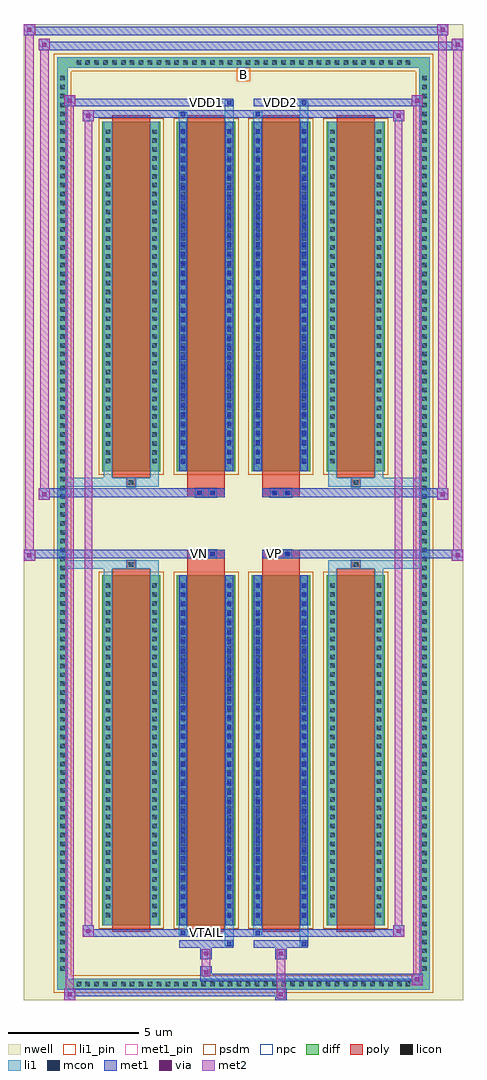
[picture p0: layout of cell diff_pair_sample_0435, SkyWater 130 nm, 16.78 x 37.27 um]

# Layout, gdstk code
import gdstk
lib = gdstk.Library(unit=1e-6, precision=5e-09)
def R(c, l, rs):  # rectangles x0, y0, x1, y1
    for r in rs: c.add(gdstk.rectangle(r[:2], r[2:], *l))
def A(c, l, x, y, w, h, nx, ny, dx, dy):  # array of equal rectangles
    R(c, l, [(x+i*dx, y+j*dy, x+i*dx+w, y+j*dy+h) for i in range(nx) for j in range(ny)])
def P(c, l, *ps):  # polygons
    for p in ps: c.add(gdstk.Polygon(p, *l))
nwell = (64, 20)
diff = (65, 20)
poly = (66, 20)
licon = (66, 44)
li1_pin = (67, 16)
li1 = (67, 20)
mcon = (67, 44)
met1_pin = (68, 16)
met1 = (68, 20)
via = (68, 44)
met2 = (69, 20)
psdm = (94, 20)
npc = (95, 20)

diff_pair_sample_0435 = lib.new_cell('diff_pair_sample_0435')
R(diff_pair_sample_0435, nwell, [(-8.39,-18.2,8.39,19.07), (-5.71,-16.39,-0.01,-0.805), (0.01,-16.39,5.71,-0.805), (-5.71,0.805,-0.01,16.39), (0.01,0.805,5.71,16.39)])
A(diff_pair_sample_0435, diff, -6.495, -17.8, 0.41, 0.41, 38, 2, 0.34, 35.19)
A(diff_pair_sample_0435, diff, -7.12, -17.205, 0.41, 0.41, 1, 101, 0, 0.34)
A(diff_pair_sample_0435, diff, 6.71, -17.205, 0.41, 0.41, 1, 101, 0, 0.34)
A(diff_pair_sample_0435, diff, -5.4, -15.345, 2.22, 13.36, 4, 2, 2.86, 17.33)
R(diff_pair_sample_0435, diff, [(-6.495,-17.8,6.495,-17.39), (-7.12,-17.205,-6.71,17.205), (6.71,-17.205,7.12,17.205), (-6.495,17.39,6.495,17.8)])
P(diff_pair_sample_0435, diff, [(7.12,17.8),(-7.12,17.8),(-7.12,-17.39),(-6.71,-17.39),(-6.71,17.39),(6.71,17.39),(6.71,-17.39),(-6.71,-17.39),(-7.12,-17.39),(-7.12,-17.8),(7.12,-17.8)])
A(diff_pair_sample_0435, poly, -5.01, -15.595, 1.44, 13.86, 4, 2, 2.86, 17.33)
R(diff_pair_sample_0435, poly, [(-4.455,-1.735,-4.125,-1.405), (-4.455,-1.735,-4.125,-1.405), (-2.15,-1.735,-0.71,-1.335), (0.71,-1.735,2.15,-1.335), (4.125,-1.735,4.455,-1.405), (4.125,-1.735,4.455,-1.405), (-2.15,-1.335,-0.71,-1.005), (-1.845,-1.335,-1.515,-1.005), (-1.345,-1.335,-1.015,-1.005), (0.71,-1.335,2.15,-1.005), (1.015,-1.335,1.345,-1.005), (1.515,-1.335,1.845,-1.005), (-2.15,1.005,-0.71,1.335), (-1.845,1.005,-1.515,1.335), (-1.345,1.005,-1.015,1.335), (0.71,1.005,2.15,1.335), (1.015,1.005,1.345,1.335), (1.515,1.005,1.845,1.335), (-2.15,1.335,-0.71,1.735), (0.71,1.335,2.15,1.735), (-4.455,1.405,-4.125,1.735), (-4.455,1.405,-4.125,1.735), (4.125,1.405,4.455,1.735), (4.125,1.405,4.455,1.735)])
A(diff_pair_sample_0435, licon, -6.375, -17.68, 0.17, 0.17, 38, 2, 0.34, 35.19)
A(diff_pair_sample_0435, licon, -7, -17.085, 0.17, 0.17, 1, 101, 0, 0.34)
A(diff_pair_sample_0435, licon, 6.83, -17.085, 0.17, 0.17, 1, 101, 0, 0.34)
A(diff_pair_sample_0435, licon, -5.26, -15.04, 0.17, 0.17, 1, 38, 0, 0.34)
A(diff_pair_sample_0435, licon, -3.49, -15.04, 0.17, 0.17, 1, 38, 0, 0.34)
A(diff_pair_sample_0435, licon, -2.4, -15.04, 0.17, 0.17, 1, 38, 0, 0.34)
A(diff_pair_sample_0435, licon, -0.63, -15.04, 0.17, 0.17, 1, 38, 0, 0.34)
A(diff_pair_sample_0435, licon, 0.46, -15.04, 0.17, 0.17, 1, 38, 0, 0.34)
A(diff_pair_sample_0435, licon, 2.23, -15.04, 0.17, 0.17, 1, 38, 0, 0.34)
A(diff_pair_sample_0435, licon, 3.32, -15.04, 0.17, 0.17, 1, 38, 0, 0.34)
A(diff_pair_sample_0435, licon, 5.09, -15.04, 0.17, 0.17, 1, 38, 0, 0.34)
A(diff_pair_sample_0435, licon, -5.26, 2.29, 0.17, 0.17, 1, 38, 0, 0.34)
A(diff_pair_sample_0435, licon, -3.49, 2.29, 0.17, 0.17, 1, 38, 0, 0.34)
A(diff_pair_sample_0435, licon, -2.4, 2.29, 0.17, 0.17, 1, 38, 0, 0.34)
A(diff_pair_sample_0435, licon, -0.63, 2.29, 0.17, 0.17, 1, 38, 0, 0.34)
A(diff_pair_sample_0435, licon, 0.46, 2.29, 0.17, 0.17, 1, 38, 0, 0.34)
A(diff_pair_sample_0435, licon, 2.23, 2.29, 0.17, 0.17, 1, 38, 0, 0.34)
A(diff_pair_sample_0435, licon, 3.32, 2.29, 0.17, 0.17, 1, 38, 0, 0.34)
A(diff_pair_sample_0435, licon, 5.09, 2.29, 0.17, 0.17, 1, 38, 0, 0.34)
R(diff_pair_sample_0435, licon, [(-4.375,-1.655,-4.205,-1.485), (4.205,-1.655,4.375,-1.485), (-1.765,-1.255,-1.595,-1.085), (-1.265,-1.255,-1.095,-1.085), (1.095,-1.255,1.265,-1.085), (1.595,-1.255,1.765,-1.085), (-1.765,1.085,-1.595,1.255), (-1.265,1.085,-1.095,1.255), (1.095,1.085,1.265,1.255), (1.595,1.085,1.765,1.255), (-4.375,1.485,-4.205,1.655), (4.205,1.485,4.375,1.655)])
R(diff_pair_sample_0435, li1_pin, [(-0.25,16.89,0.25,17.39)])
A(diff_pair_sample_0435, li1, -6.455, -17.76, 0.33, 0.33, 38, 2, 0.34, 35.19)
A(diff_pair_sample_0435, li1, -7.08, -17.165, 0.33, 0.33, 1, 101, 0, 0.34)
A(diff_pair_sample_0435, li1, 6.75, -17.165, 0.33, 0.33, 1, 101, 0, 0.34)
A(diff_pair_sample_0435, li1, -5.34, -15.12, 0.33, 0.33, 1, 38, 0, 0.34)
A(diff_pair_sample_0435, li1, -3.57, -15.12, 0.33, 0.33, 1, 38, 0, 0.34)
A(diff_pair_sample_0435, li1, -2.48, -15.12, 0.33, 0.33, 1, 38, 0, 0.34)
A(diff_pair_sample_0435, li1, -0.71, -15.12, 0.33, 0.33, 1, 38, 0, 0.34)
A(diff_pair_sample_0435, li1, 0.38, -15.12, 0.33, 0.33, 1, 38, 0, 0.34)
A(diff_pair_sample_0435, li1, 2.15, -15.12, 0.33, 0.33, 1, 38, 0, 0.34)
A(diff_pair_sample_0435, li1, 3.24, -15.12, 0.33, 0.33, 1, 38, 0, 0.34)
A(diff_pair_sample_0435, li1, 5.01, -15.12, 0.33, 0.33, 1, 38, 0, 0.34)
A(diff_pair_sample_0435, li1, -2.4, -15.05, 0.17, 0.17, 1, 36, 0, 0.36)
A(diff_pair_sample_0435, li1, -0.63, -15.05, 0.17, 0.17, 1, 36, 0, 0.36)
A(diff_pair_sample_0435, li1, 0.46, -15.05, 0.17, 0.17, 1, 36, 0, 0.36)
A(diff_pair_sample_0435, li1, 2.23, -15.05, 0.17, 0.17, 1, 36, 0, 0.36)
A(diff_pair_sample_0435, li1, -5.34, 2.21, 0.33, 0.33, 1, 38, 0, 0.34)
A(diff_pair_sample_0435, li1, -3.57, 2.21, 0.33, 0.33, 1, 38, 0, 0.34)
A(diff_pair_sample_0435, li1, -2.48, 2.21, 0.33, 0.33, 1, 38, 0, 0.34)
A(diff_pair_sample_0435, li1, -0.71, 2.21, 0.33, 0.33, 1, 38, 0, 0.34)
A(diff_pair_sample_0435, li1, 0.38, 2.21, 0.33, 0.33, 1, 38, 0, 0.34)
A(diff_pair_sample_0435, li1, 2.15, 2.21, 0.33, 0.33, 1, 38, 0, 0.34)
A(diff_pair_sample_0435, li1, 3.24, 2.21, 0.33, 0.33, 1, 38, 0, 0.34)
A(diff_pair_sample_0435, li1, 5.01, 2.21, 0.33, 0.33, 1, 38, 0, 0.34)
A(diff_pair_sample_0435, li1, -2.4, 2.28, 0.17, 0.17, 1, 36, 0, 0.36)
A(diff_pair_sample_0435, li1, -0.63, 2.28, 0.17, 0.17, 1, 36, 0, 0.36)
A(diff_pair_sample_0435, li1, 0.46, 2.28, 0.17, 0.17, 1, 36, 0, 0.36)
A(diff_pair_sample_0435, li1, 2.23, 2.28, 0.17, 0.17, 1, 36, 0, 0.36)
R(diff_pair_sample_0435, li1, [(-7.12,-17.8,-6.71,-17.39), (-7.12,-17.8,-6.71,-17.39), (-6.71,-17.8,6.71,-17.39), (6.71,-17.8,7.12,-17.39), (6.71,-17.8,7.12,-17.39), (-7.12,-17.39,-6.71,17.39), (6.71,-17.39,7.12,17.39), (-0.71,-16.15,-0.38,-15.345), (-0.63,-16.15,-0.46,-15.98), (2.15,-16.15,2.48,-15.345), (2.23,-16.15,2.4,-15.98), (-2.48,-15.72,-2.15,-15.345), (-2.4,-15.72,-2.23,-15.55), (0.38,-15.72,0.71,-15.345), (0.46,-15.72,0.63,-15.55), (-5.34,-15.345,-5.01,-1.985), (-3.57,-15.345,-3.24,-1.985), (-2.48,-15.345,-2.15,-1.985), (-0.71,-15.345,-0.38,-1.985), (0.38,-15.345,0.71,-1.985), (2.15,-15.345,2.48,-1.985), (3.24,-15.345,3.57,-1.985), (5.01,-15.345,5.34,-1.985), (-2.4,-15.05,-2.23,-2.28), (-0.63,-15.05,-0.46,-2.28), (0.46,-15.05,0.63,-2.28), (2.23,-15.05,2.4,-2.28), (-5.34,-1.985,-5.01,-1.405), (-3.57,-1.985,-3.24,-1.405), (3.24,-1.985,3.57,-1.405), (5.01,-1.985,5.34,-1.405), (-7.12,-1.735,-4.455,-1.405), (-5.34,-1.735,-4.455,-1.405), (-4.455,-1.735,-4.125,-1.405), (-4.125,-1.735,-3.24,-1.405), (3.24,-1.735,4.125,-1.405), (4.125,-1.735,4.455,-1.405), (4.125,-1.735,7.12,-1.405), (4.455,-1.735,5.34,-1.405), (-1.845,-1.335,-1.515,-1.005), (-1.345,-1.335,-1.015,-1.005), (1.015,-1.335,1.345,-1.005), (1.515,-1.335,1.845,-1.005), (-1.845,1.005,-1.515,1.335), (-1.345,1.005,-1.015,1.335), (1.015,1.005,1.345,1.335), (1.515,1.005,1.845,1.335), (-7.12,1.405,-4.455,1.735), (-5.34,1.405,-4.455,1.735), (-5.34,1.405,-5.01,1.985), (-4.455,1.405,-4.125,1.735), (-4.125,1.405,-3.24,1.735), (-3.57,1.405,-3.24,1.985), (3.24,1.405,4.125,1.735), (3.24,1.405,3.57,1.985), (4.125,1.405,4.455,1.735), (4.125,1.405,7.12,1.735), (4.455,1.405,5.34,1.735), (5.01,1.405,5.34,1.985), (-5.34,1.985,-5.01,15.345), (-3.57,1.985,-3.24,15.345), (-2.48,1.985,-2.15,15.345), (-0.71,1.985,-0.38,15.345), (0.38,1.985,0.71,15.345), (2.15,1.985,2.48,15.345), (3.24,1.985,3.57,15.345), (5.01,1.985,5.34,15.345), (-2.4,2.28,-2.23,15.05), (-0.63,2.28,-0.46,15.05), (0.46,2.28,0.63,15.05), (2.23,2.28,2.4,15.05), (-2.48,15.345,-2.15,15.72), (-0.71,15.345,-0.38,16.15), (0.38,15.345,0.71,15.72), (2.15,15.345,2.48,16.15), (-2.4,15.55,-2.23,15.72), (0.46,15.55,0.63,15.72), (-0.63,15.98,-0.46,16.15), (2.23,15.98,2.4,16.15), (-7.12,17.39,-6.71,17.8), (-7.12,17.39,-6.71,17.8), (-6.71,17.39,6.71,17.8), (6.71,17.39,7.12,17.8), (6.71,17.39,7.12,17.8)])
A(diff_pair_sample_0435, mcon, -2.4, -15.05, 0.17, 0.17, 1, 36, 0, 0.36)
A(diff_pair_sample_0435, mcon, -0.63, -15.05, 0.17, 0.17, 1, 36, 0, 0.36)
A(diff_pair_sample_0435, mcon, 0.46, -15.05, 0.17, 0.17, 1, 36, 0, 0.36)
A(diff_pair_sample_0435, mcon, 2.23, -15.05, 0.17, 0.17, 1, 36, 0, 0.36)
A(diff_pair_sample_0435, mcon, -2.4, 2.28, 0.17, 0.17, 1, 36, 0, 0.36)
A(diff_pair_sample_0435, mcon, -0.63, 2.28, 0.17, 0.17, 1, 36, 0, 0.36)
A(diff_pair_sample_0435, mcon, 0.46, 2.28, 0.17, 0.17, 1, 36, 0, 0.36)
A(diff_pair_sample_0435, mcon, 2.23, 2.28, 0.17, 0.17, 1, 36, 0, 0.36)
R(diff_pair_sample_0435, mcon, [(-0.63,-16.15,-0.46,-15.98), (2.23,-16.15,2.4,-15.98), (-2.4,-15.72,-2.23,-15.55), (0.46,-15.72,0.63,-15.55), (-1.765,-1.255,-1.595,-1.085), (-1.265,-1.255,-1.095,-1.085), (1.095,-1.255,1.265,-1.085), (1.595,-1.255,1.765,-1.085), (-1.765,1.085,-1.595,1.255), (-1.265,1.085,-1.095,1.255), (1.095,1.085,1.265,1.255), (1.595,1.085,1.765,1.255), (-2.4,15.55,-2.23,15.72), (0.46,15.55,0.63,15.72), (-0.63,15.98,-0.46,16.15), (2.23,15.98,2.4,16.15)])
R(diff_pair_sample_0435, met1_pin, [(-1.565,-15.76,-1.295,-15.49), (-1.815,-1.295,-1.545,-1.025), (1.045,-1.295,1.315,-1.025), (-1.565,15.94,-1.295,16.21), (1.295,15.94,1.565,16.21)])
A(diff_pair_sample_0435, met1, -2.46, -15.11, 0.29, 0.29, 1, 36, 0, 0.36)
A(diff_pair_sample_0435, met1, -0.69, -15.11, 0.29, 0.29, 1, 36, 0, 0.36)
A(diff_pair_sample_0435, met1, 0.4, -15.11, 0.29, 0.29, 1, 36, 0, 0.36)
A(diff_pair_sample_0435, met1, 2.17, -15.11, 0.29, 0.29, 1, 36, 0, 0.36)
A(diff_pair_sample_0435, met1, -2.46, 2.22, 0.29, 0.29, 1, 36, 0, 0.36)
A(diff_pair_sample_0435, met1, -0.69, 2.22, 0.29, 0.29, 1, 36, 0, 0.36)
A(diff_pair_sample_0435, met1, 0.4, 2.22, 0.29, 0.29, 1, 36, 0, 0.36)
A(diff_pair_sample_0435, met1, 2.17, 2.22, 0.29, 0.29, 1, 36, 0, 0.36)
R(diff_pair_sample_0435, met1, [(-6.85,-18.2,-6.42,-17.77), (1.215,-18.2,1.645,-17.77), (-6.85,-18.06,1.645,-17.77), (6.42,-17.63,6.85,-17.2), (-1.645,-17.49,6.85,-17.2), (-1.645,-17.35,-1.215,-16.92), (-1.645,-16.64,-1.215,-16.21), (1.215,-16.64,1.645,-16.21), (-2.46,-16.21,-0.4,-15.92), (-0.69,-16.21,-0.4,-15.92), (0.4,-16.21,2.46,-15.92), (2.17,-16.21,2.46,-15.92), (-6.14,-15.78,-5.71,-15.35), (-6.14,-15.78,-2.46,-15.49), (-2.46,-15.78,-2.17,-15.49), (-2.46,-15.78,-0.4,-15.49), (-0.4,-15.78,0.4,-15.49), (0.4,-15.78,0.69,-15.49), (0.4,-15.78,2.46,-15.49), (2.46,-15.78,6.14,-15.49), (5.71,-15.78,6.14,-15.35), (-2.46,-15.345,-2.17,-1.985), (-0.69,-15.345,-0.4,-1.985), (0.4,-15.345,0.69,-1.985), (2.17,-15.345,2.46,-1.985), (-8.39,-1.435,-7.96,-1.005), (7.96,-1.435,8.39,-1.005), (-8.39,-1.335,-0.71,-1.005), (-2.15,-1.335,-0.71,-1.005), (0.71,-1.335,2.15,-1.005), (0.71,-1.335,8.39,-1.005), (-1.825,-1.315,-1.535,-1.025), (-1.325,-1.315,-1.035,-1.025), (1.035,-1.315,1.325,-1.025), (1.535,-1.315,1.825,-1.025), (-7.82,0.905,-7.39,1.335), (7.39,0.905,7.82,1.335), (-7.82,1.005,-2.15,1.335), (-2.15,1.005,-0.71,1.335), (0.71,1.005,2.15,1.335), (2.15,1.005,7.82,1.335), (-1.825,1.025,-1.535,1.315), (-1.325,1.025,-1.035,1.315), (1.035,1.025,1.325,1.315), (1.535,1.025,1.825,1.315), (-2.46,1.985,-2.17,15.345), (-0.69,1.985,-0.4,15.345), (0.4,1.985,0.69,15.345), (2.17,1.985,2.46,15.345), (-6.14,15.35,-5.71,15.78), (5.71,15.35,6.14,15.78), (-6.14,15.49,-2.46,15.78), (-2.46,15.49,-2.17,15.78), (-2.46,15.49,-0.4,15.78), (-0.4,15.49,0.4,15.78), (0.4,15.49,0.69,15.78), (0.4,15.49,2.46,15.78), (2.46,15.49,6.14,15.78), (-6.85,15.92,-6.42,16.35), (-6.85,15.92,-2.46,16.21), (-2.46,15.92,-0.4,16.21), (-0.69,15.92,-0.4,16.21), (0.4,15.92,2.46,16.21), (2.17,15.92,2.46,16.21), (2.46,15.92,6.85,16.21), (6.42,15.92,6.85,16.35), (-7.82,18.07,-7.39,18.5), (-7.82,18.07,-5.71,18.4), (-5.71,18.07,5.71,18.4), (5.71,18.07,8.39,18.4), (7.96,18.07,8.39,18.5), (-8.39,18.64,-7.96,19.07), (-8.39,18.64,-5.71,18.97), (-5.71,18.64,5.71,18.97), (5.71,18.64,7.82,18.97), (7.39,18.64,7.82,19.07)])
R(diff_pair_sample_0435, via, [(-6.71,-18.06,-6.56,-17.91), (1.355,-18.06,1.505,-17.91), (6.56,-17.49,6.71,-17.34), (-1.505,-17.21,-1.355,-17.06), (-1.505,-16.5,-1.355,-16.35), (1.355,-16.5,1.505,-16.35), (-6,-15.64,-5.85,-15.49), (5.85,-15.64,6,-15.49), (-8.25,-1.295,-8.1,-1.145), (8.1,-1.295,8.25,-1.145), (-7.68,1.045,-7.53,1.195), (7.53,1.045,7.68,1.195), (-6,15.49,-5.85,15.64), (5.85,15.49,6,15.64), (-6.71,16.06,-6.56,16.21), (6.56,16.06,6.71,16.21), (-7.68,18.21,-7.53,18.36), (8.1,18.21,8.25,18.36), (-8.25,18.78,-8.1,18.93), (7.53,18.78,7.68,18.93)])
R(diff_pair_sample_0435, met2, [(-6.85,-18.2,-6.42,-17.77), (-6.78,-18.2,-6.49,16.35), (-6.49,-18.2,-6.42,-17.77), (-6.8,-18.15,-6.47,-17.82), (1.265,-18.15,1.595,-17.82), (1.265,-17.82,1.595,-16.59), (6.42,-17.63,6.85,-17.2), (6.49,-17.63,6.78,16.35), (6.78,-17.63,6.85,-17.2), (6.47,-17.58,6.8,-17.25), (-1.595,-17.3,-1.265,-16.97), (-1.595,-16.97,-1.265,-16.59), (-1.595,-16.59,-1.265,-16.26), (1.265,-16.59,1.595,-16.26), (-6.14,-15.78,-5.71,-15.35), (-6.07,-15.78,-5.78,15.78), (-5.78,-15.78,-5.71,-15.35), (5.71,-15.78,6.14,-15.35), (5.78,-15.78,6.07,15.78), (6.07,-15.78,6.14,-15.35), (-6.09,-15.73,-5.76,-15.4), (5.76,-15.73,6.09,-15.4), (-8.39,-1.435,-7.96,-1.005), (-8.34,-1.435,-8.01,19.07), (-8.01,-1.435,-7.96,-1.005), (7.96,-1.435,8.39,-1.005), (8.01,-1.435,8.34,18.5), (8.34,-1.435,8.39,-1.005), (-8.34,-1.385,-8.01,-1.055), (8.01,-1.385,8.34,-1.055), (-7.82,0.905,-7.39,1.335), (-7.77,0.905,-7.44,18.5), (-7.44,0.905,-7.39,1.335), (7.39,0.905,7.82,1.335), (7.44,0.905,7.77,19.07), (7.77,0.905,7.82,1.335), (-7.77,0.955,-7.44,1.285), (7.44,0.955,7.77,1.285), (-6.14,15.35,-5.71,15.78), (-5.78,15.35,-5.71,15.78), (5.71,15.35,6.14,15.78), (6.07,15.35,6.14,15.78), (-6.09,15.4,-5.76,15.73), (5.76,15.4,6.09,15.73), (-6.85,15.92,-6.42,16.35), (-6.49,15.92,-6.42,16.35), (6.42,15.92,6.85,16.35), (6.78,15.92,6.85,16.35), (-6.8,15.97,-6.47,16.3), (6.47,15.97,6.8,16.3), (-7.82,18.07,-7.39,18.5), (-7.44,18.07,-7.39,18.5), (7.96,18.07,8.39,18.5), (8.34,18.07,8.39,18.5), (-7.77,18.12,-7.44,18.45), (8.01,18.12,8.34,18.45), (-8.39,18.64,-7.96,19.07), (-8.01,18.64,-7.96,19.07), (7.39,18.64,7.82,19.07), (7.77,18.64,7.82,19.07), (-8.34,18.69,-8.01,19.02), (7.44,18.69,7.77,19.02)])
A(diff_pair_sample_0435, psdm, -5.53, -15.475, 2.48, 13.62, 4, 2, 2.86, 17.33)
P(diff_pair_sample_0435, psdm, [(7.25,17.93),(-7.25,17.93),(-7.25,-17.26),(-6.58,-17.26),(-6.58,17.26),(6.58,17.26),(6.58,-17.26),(-6.58,-17.26),(-7.25,-17.26),(-7.25,-17.93),(7.25,-17.93)])
R(diff_pair_sample_0435, npc, [(-4.475,-1.755,-4.105,-1.385), (4.105,-1.755,4.475,-1.385), (-1.865,-1.355,-1.495,-0.985), (-1.865,-1.355,-0.995,-0.985), (-1.865,-1.355,-0.995,-0.985), (-1.365,-1.355,-0.995,-0.985), (0.995,-1.355,1.365,-0.985), (0.995,-1.355,1.865,-0.985), (0.995,-1.355,1.865,-0.985), (1.495,-1.355,1.865,-0.985), (-1.865,0.985,-1.495,1.355), (-1.865,0.985,-0.995,1.355), (-1.865,0.985,-0.995,1.355), (-1.365,0.985,-0.995,1.355), (0.995,0.985,1.365,1.355), (0.995,0.985,1.865,1.355), (0.995,0.985,1.865,1.355), (1.495,0.985,1.865,1.355), (-4.475,1.385,-4.105,1.755), (4.105,1.385,4.475,1.755)])
diff_pair_sample_0435.add(gdstk.Label('VTAIL', (-1.43,-15.625), layer=68, texttype=5))
diff_pair_sample_0435.add(gdstk.Label('VN', (-1.68,-1.16), layer=68, texttype=5))
diff_pair_sample_0435.add(gdstk.Label('VP', (1.18,-1.16), layer=68, texttype=5))
diff_pair_sample_0435.add(gdstk.Label('B', (0,17.14), layer=67, texttype=5))
diff_pair_sample_0435.add(gdstk.Label('VDD2', (1.43,16.075), layer=68, texttype=5))
diff_pair_sample_0435.add(gdstk.Label('VDD1', (-1.43,16.075), layer=68, texttype=5))

lib.write_gds('diff_pair_sample_0435.gds')
